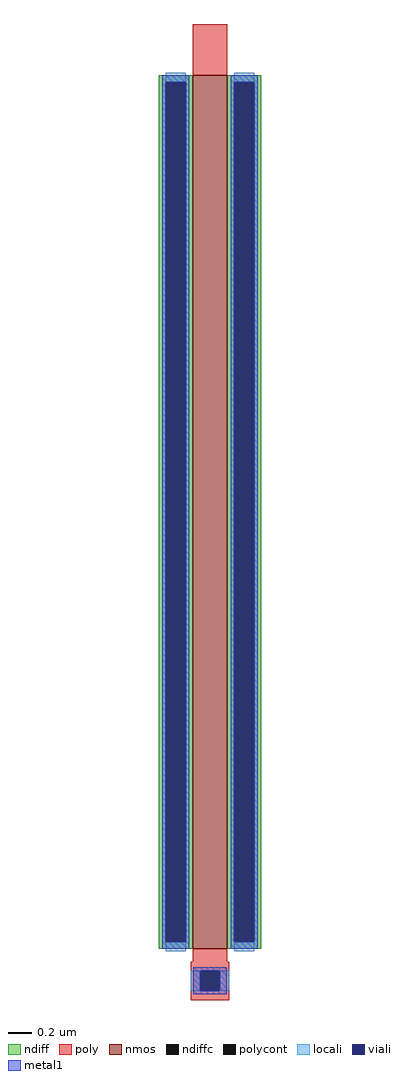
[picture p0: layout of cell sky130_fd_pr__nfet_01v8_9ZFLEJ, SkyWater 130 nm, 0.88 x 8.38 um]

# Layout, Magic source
magic
tech sky130A
magscale 1 2
<< nmos >>
rect -30 -750 30 750
<< ndiff >>
rect -88 738 -30 750
rect -88 -738 -76 738
rect -42 -738 -30 738
rect -88 -750 -30 -738
rect 30 738 88 750
rect 30 -738 42 738
rect 76 -738 88 738
rect 30 -750 88 -738
<< ndiffc >>
rect -76 -738 -42 738
rect 42 -738 76 738
<< poly >>
rect -30 750 30 838
rect -30 -772 30 -750
rect -33 -788 33 -772
rect -33 -822 -17 -788
rect 17 -822 33 -788
rect -33 -838 33 -822
<< polycont >>
rect -17 -822 17 -788
<< locali >>
rect -76 738 -42 754
rect -76 -754 -42 -738
rect 42 738 76 754
rect 42 -754 76 -738
rect -33 -822 -17 -788
rect 17 -822 33 -788
<< viali >>
rect -76 -738 -42 738
rect 42 -738 76 738
rect -17 -822 17 -788
<< metal1 >>
rect -82 738 -36 750
rect -82 -738 -76 738
rect -42 -738 -36 738
rect -82 -750 -36 -738
rect 36 738 82 750
rect 36 -738 42 738
rect 76 -738 82 738
rect 36 -750 82 -738
rect -29 -788 29 -782
rect -29 -822 -17 -788
rect 17 -822 29 -788
rect -29 -828 29 -822
<< properties >>
string gencell sky130_fd_pr__nfet_01v8
string library sky130
string parameters w 7.5 l 0.3 m 1 nf 1 diffcov 100 polycov 100 guard 0 glc 1 grc 1 gtc 1 gbc 1 tbcov 100 rlcov 100 topc 1 botc 1 poverlap 0 doverlap 1 lmin 0.15 wmin 0.42 compatible {sky130_fd_pr__nfet_01v8 sky130_fd_pr__nfet_01v8_lvt  sky130_fd_bs_flash__special_sonosfet_star  sky130_fd_pr__nfet_g5v0d10v5 sky130_fd_pr__nfet_05v0_nvt  sky130_fd_pr__nfet_03v3_nvt} full_metal 1 viasrc 100 viadrn 100 viagate 100 viagb 0 viagr 0 viagl 0 viagt 0
<< end >>
